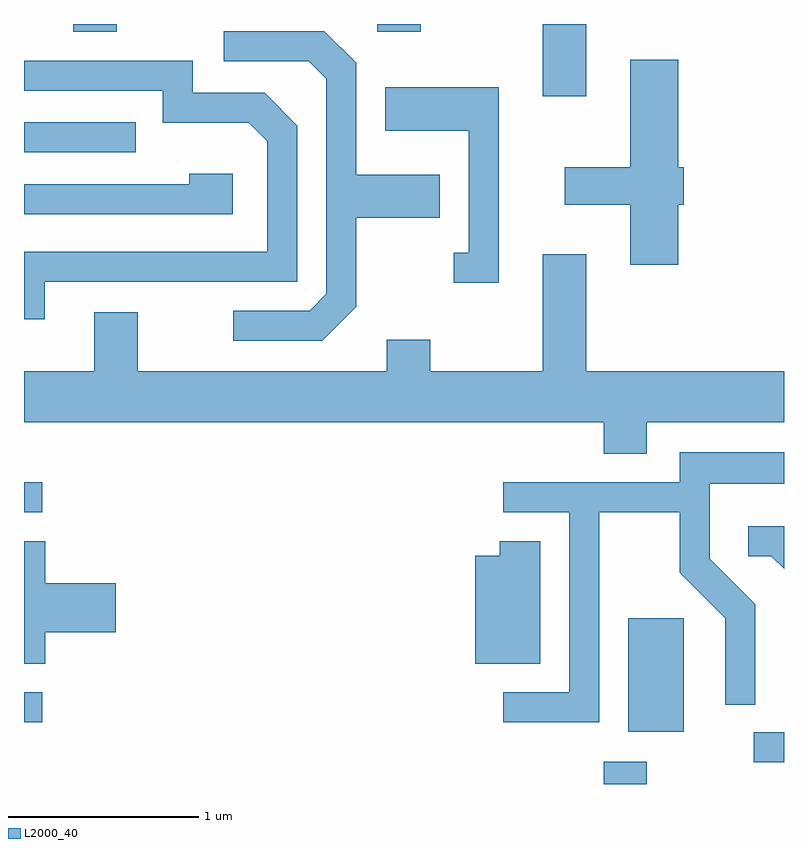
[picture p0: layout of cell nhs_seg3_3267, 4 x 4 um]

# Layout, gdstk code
import gdstk
lib = gdstk.Library(unit=1e-6, precision=1e-09)
def R(c, l, rs):  # rectangles x0, y0, x1, y1
    for r in rs: c.add(gdstk.rectangle(r[:2], r[2:], *l))
def P(c, l, *ps):  # polygons
    for p in ps: c.add(gdstk.Polygon(p, *l))
L2000_40 = (2000, 40)

nhs_seg3_3267 = lib.new_cell('nhs_seg3_3267')
R(nhs_seg3_3267, L2000_40, [(284.661,1121.892,284.889,1122.009), (285.453,1122.006,285.611,1122.164), (284.791,1122.166,285.084,1122.764), (281.611,1122.216,281.708,1122.374), (281.611,1123.321,281.708,1123.479), (281.611,1125.216,282.198,1125.374), (284.341,1125.511,284.569,1125.892), (281.871,1125.851,282.099,1125.892), (283.471,1125.851,283.699,1125.892)])
P(nhs_seg3_3267, L2000_40, [(283.359,1124.404),(283.359,1124.871),(283.799,1124.871),(283.799,1125.099),(283.359,1125.099),(283.359,1125.687),(283.192,1125.854),(282.663,1125.854),(282.663,1125.696),(283.109,1125.696),(283.201,1125.604),(283.201,1124.472),(283.114,1124.384),(282.713,1124.384),(282.713,1124.226),(283.182,1124.226)],
  [(285.054,1124.941),(285.084,1124.941),(285.084,1125.139),(285.054,1125.139),(285.054,1125.704),(284.801,1125.704),(284.801,1125.139),(284.456,1125.139),(284.456,1124.941),(284.801,1124.941),(284.801,1124.626),(285.054,1124.626)],
  [(281.719,1124.536),(283.049,1124.536),(283.049,1125.357),(282.877,1125.529),(282.499,1125.529),(282.499,1125.699),(281.611,1125.699),(281.611,1125.541),(282.341,1125.541),(282.341,1125.371),(282.794,1125.371),(282.891,1125.274),(282.891,1124.694),(281.611,1124.694),(281.611,1124.338),(281.719,1124.338)],
  [(284.109,1125.559),(283.511,1125.559),(283.511,1125.331),(283.951,1125.331),(283.951,1124.689),(283.873,1124.689),(283.873,1124.531),(284.109,1124.531)],
  [(282.709,1125.104),(282.481,1125.104),(282.481,1125.049),(281.611,1125.049),(281.611,1124.891),(282.709,1124.891)],
  [(284.889,1123.796),(285.611,1123.796),(285.611,1124.064),(284.569,1124.064),(284.569,1124.679),(284.341,1124.679),(284.341,1124.064),(283.749,1124.064),(283.749,1124.229),(283.521,1124.229),(283.521,1124.064),(282.209,1124.064),(282.209,1124.374),(281.981,1124.374),(281.981,1124.064),(281.611,1124.064),(281.611,1123.796),(284.661,1123.796),(284.661,1123.631),(284.889,1123.631)],
  [(284.639,1123.321),(285.061,1123.321),(285.061,1123.004),(285.301,1122.764),(285.301,1122.308),(285.459,1122.308),(285.459,1122.837),(285.219,1123.077),(285.219,1123.471),(285.611,1123.471),(285.611,1123.639),(285.061,1123.639),(285.061,1123.479),(284.133,1123.479),(284.133,1123.321),(284.481,1123.321),(284.481,1122.374),(284.133,1122.374),(284.133,1122.216),(284.639,1122.216)],
  [(285.611,1123.249),(285.423,1123.249),(285.423,1123.091),(285.544,1123.091),(285.611,1123.024)],
  [(284.329,1123.169),(284.116,1123.169),(284.116,1123.094),(283.986,1123.094),(283.986,1122.526),(284.329,1122.526)],
  [(281.724,1122.691),(282.094,1122.691),(282.094,1122.949),(281.724,1122.949),(281.724,1123.169),(281.611,1123.169),(281.611,1122.526),(281.724,1122.526)])

lib.write_gds('nhs_seg3_3267.gds')
